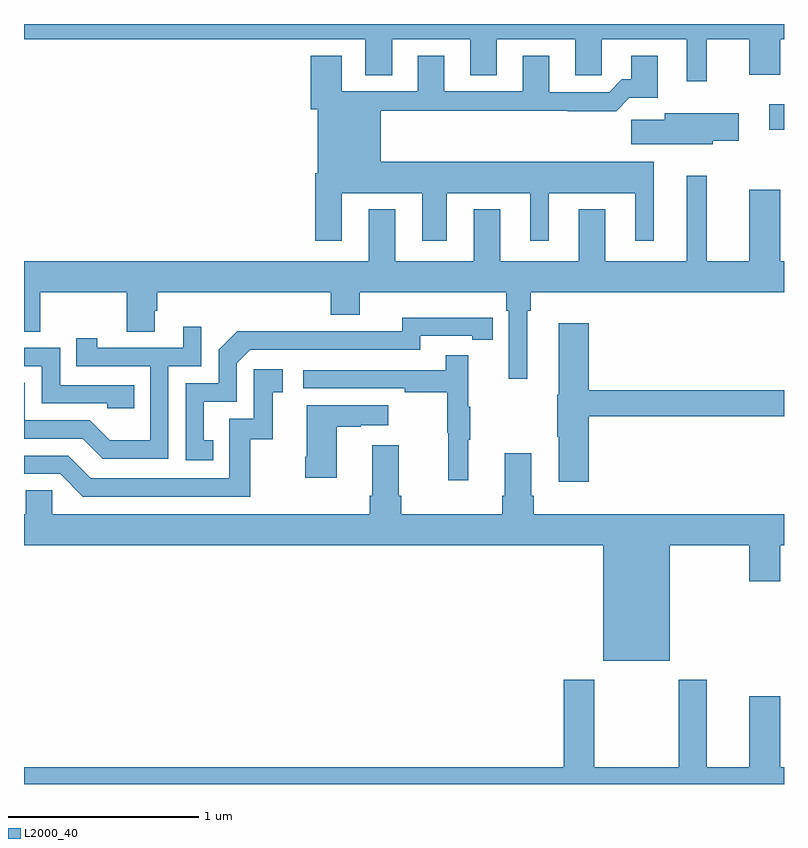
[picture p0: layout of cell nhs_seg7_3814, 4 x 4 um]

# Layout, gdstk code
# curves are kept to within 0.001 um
import gdstk
lib = gdstk.Library(unit=1e-6, precision=1e-09)
def R(c, l, rs):  # rectangles x0, y0, x1, y1
    for r in rs: c.add(gdstk.rectangle(r[:2], r[2:], *l))
def P(c, l, *ps):  # polygons
    for p in ps: c.add(gdstk.Polygon(p, *l))
L2000_40 = (2000, 40)

nhs_seg7_3814 = lib.new_cell('nhs_seg7_3814')
R(nhs_seg7_3814, L2000_40, [(356.922,1029.443,357,1029.577)])
P(nhs_seg7_3814, L2000_40, [(356.593,1029.92),(356.816,1029.92),(356.816,1029.732),(356.98,1029.732),(356.98,1029.92),(357,1029.92),(357,1030),(353,1030),(353,1029.92),(354.797,1029.92),(354.797,1029.73),(354.937,1029.73),(354.937,1029.92),(355.349,1029.92),(355.349,1029.73),(355.489,1029.73),(355.489,1029.92),(355.901,1029.92),(355.901,1029.73),(356.04,1029.73),(356.04,1029.92),(356.489,1029.92),(356.489,1029.699),(356.593,1029.699)],
  [(354.673,1029.11),(355.097,1029.11),(355.097,1028.859),(355.225,1028.859),(355.225,1029.11),(355.664,1029.11),(355.664,1028.859),(355.762,1028.859),(355.762,1029.11),(356.216,1029.11),(356.216,1028.859),(356.314,1028.859),(356.314,1029.274),(354.877,1029.274),(354.877,1029.544),(355.861,1029.544),(355.861,1029.542),(356.117,1029.542),(356.186,1029.611),(356.335,1029.611),(356.335,1029.832),(356.195,1029.832),(356.195,1029.709),(356.146,1029.709),(356.079,1029.642),(355.765,1029.642),(355.765,1029.832),(355.625,1029.832),(355.625,1029.645),(355.213,1029.645),(355.213,1029.832),(355.073,1029.832),(355.073,1029.645),(354.673,1029.645),(354.673,1029.832),(354.509,1029.832),(354.509,1029.552),(354.545,1029.552),(354.545,1029.214),(354.533,1029.214),(354.533,1028.859),(354.673,1028.859)],
  [(356.626,1029.386),(356.761,1029.386),(356.761,1029.529),(356.372,1029.529),(356.372,1029.497),(356.196,1029.497),(356.196,1029.368),(356.626,1029.368)],
  [(355.648,1028.492),(355.667,1028.492),(355.667,1028.588),(357,1028.588),(357,1028.752),(356.98,1028.752),(356.98,1029.127),(356.816,1029.127),(356.816,1028.752),(356.593,1028.752),(356.593,1029.202),(356.489,1029.202),(356.489,1028.752),(356.059,1028.752),(356.059,1029.025),(355.919,1029.025),(355.919,1028.752),(355.507,1028.752),(355.507,1029.025),(355.367,1029.025),(355.367,1028.752),(354.955,1028.752),(354.955,1029.025),(354.815,1029.025),(354.815,1028.752),(353,1028.752),(353,1028.38),(353.085,1028.38),(353.085,1028.588),(353.542,1028.588),(353.542,1028.38),(353.689,1028.38),(353.689,1028.49),(353.702,1028.49),(353.702,1028.588),(354.614,1028.588),(354.614,1028.471),(354.766,1028.471),(354.766,1028.588),(355.538,1028.588),(355.538,1028.492),(355.551,1028.492),(355.551,1028.132),(355.648,1028.132)],
  [(353.996,1027.809),(353.947,1027.809),(353.947,1028.013),(354.12,1028.013),(354.12,1028.214),(354.192,1028.286),(355.086,1028.286),(355.086,1028.358),(355.358,1028.358),(355.358,1028.338),(355.466,1028.338),(355.466,1028.454),(354.99,1028.455),(354.99,1028.382),(354.53,1028.382),(354.53,1028.384),(354.122,1028.384),(354.024,1028.286),(354.024,1028.109),(353.85,1028.109),(353.85,1027.704),(353.996,1027.704)],
  [(355.973,1027.936),(357,1027.936),(357,1028.072),(355.973,1028.072),(355.973,1028.425),(355.814,1028.425),(355.814,1028.049),(355.807,1028.049),(355.807,1027.828),(355.814,1027.828),(355.814,1027.59),(355.973,1027.59)],
  [(353.76,1028.199),(353.934,1028.199),(353.934,1028.407),(353.837,1028.407),(353.837,1028.295),(353.386,1028.295),(353.386,1028.347),(353.275,1028.347),(353.275,1028.199),(353.664,1028.199),(353.664,1027.81),(353.45,1027.81),(353.346,1027.914),(353.004,1027.914),(353.004,1028.113),(353,1028.113),(353,1027.818),(353.309,1027.818),(353.414,1027.713),(353.76,1027.713)],
  [(353.579,1028.1),(353.19,1028.1),(353.19,1028.295),(353,1028.295),(353,1028.199),(353.094,1028.199),(353.094,1028.004),(353.439,1028.004),(353.439,1027.977),(353.579,1027.977)],
  [(355.337,1027.811),(355.348,1027.811),(355.348,1027.985),(355.337,1027.985),(355.337,1028.257),(355.219,1028.257),(355.219,1028.178),(354.471,1028.178),(354.471,1028.082),(355.003,1028.082),(355.003,1028.062),(355.227,1028.062),(355.227,1027.848),(355.234,1027.848),(355.234,1027.599),(355.337,1027.599)],
  [(354.19,1027.815),(354.308,1027.815),(354.308,1028.061),(354.361,1028.061),(354.361,1028.182),(354.21,1028.182),(354.21,1027.923),(354.081,1027.923),(354.081,1027.608),(353.352,1027.608),(353.232,1027.728),(353,1027.728),(353,1027.632),(353.19,1027.632),(353.31,1027.512),(354.19,1027.512)],
  [(354.646,1027.879),(354.773,1027.879),(354.773,1027.889),(354.916,1027.889),(354.916,1027.993),(354.488,1027.993),(354.488,1027.723),(354.481,1027.723),(354.481,1027.611),(354.646,1027.611)],
  [(356.398,1027.256),(356.816,1027.256),(356.816,1027.068),(356.98,1027.068),(356.98,1027.256),(357,1027.256),(357,1027.42),(355.682,1027.42),(355.682,1027.516),(355.669,1027.516),(355.669,1027.741),(355.529,1027.741),(355.529,1027.516),(355.517,1027.516),(355.517,1027.42),(354.986,1027.42),(354.986,1027.516),(354.973,1027.516),(354.973,1027.783),(354.833,1027.783),(354.833,1027.516),(354.821,1027.516),(354.821,1027.42),(353.148,1027.42),(353.148,1027.547),(353.009,1027.547),(353.009,1027.42),(353,1027.42),(353,1027.256),(356.048,1027.256),(356.048,1026.65),(356.398,1026.65)],
  [(357,1026.088),(356.98,1026.088),(356.98,1026.463),(356.816,1026.463),(356.816,1026.088),(356.593,1026.088),(356.593,1026.55),(356.446,1026.55),(356.446,1026.088),(356.001,1026.088),(356.001,1026.55),(355.841,1026.55),(355.841,1026.088),(353,1026.088),(353,1026),(357,1026)])

lib.write_gds('nhs_seg7_3814.gds')
